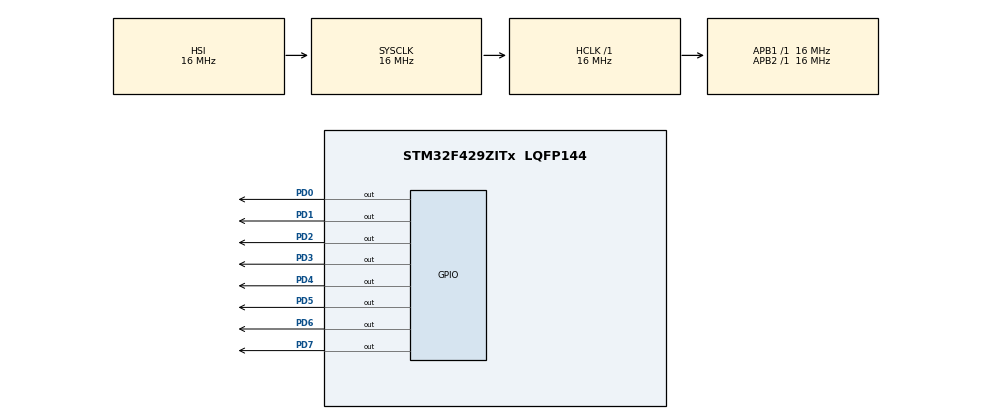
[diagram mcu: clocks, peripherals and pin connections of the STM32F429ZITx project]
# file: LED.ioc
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Mcu.Family=STM32F4
Mcu.Name=STM32F429ZITx
Mcu.Package=LQFP144
NVIC.PriorityGroup=NVIC_PRIORITYGROUP_4
PD0.PinState=GPIO_PIN_RESET
PD0.Signal=GPIO_Output
PD1.Signal=GPIO_Output
PD2.Signal=GPIO_Output
PD3.Signal=GPIO_Output
PD4.Signal=GPIO_Output
PD5.Signal=GPIO_Output
PD6.Signal=GPIO_Output
PD7.Signal=GPIO_Output
ProjectManager.HeapSize=0x200
ProjectManager.StackSize=0x400
ProjectManager.TargetToolchain=STM32CubeIDE
RCC.AHBFreq_Value=16000000
RCC.APB1Freq_Value=16000000
RCC.APB2Freq_Value=16000000
RCC.CortexFreq_Value=16000000
RCC.HSE_VALUE=25000000
RCC.HSI_VALUE=16000000
RCC.LSE_VALUE=32768
RCC.SYSCLKFreq_VALUE=16000000
RCC.VCOOutputFreq_Value=192000000
board=custom

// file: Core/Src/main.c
/* USER CODE BEGIN Header */
/**
  ******************************************************************************
  * @file           : main.c
  * @brief          : Main program body
  ******************************************************************************
  * @attention
  *
  * Copyright (c) 2022 STMicroelectronics.
  * All rights reserved.
  *
  * This software is licensed under terms that can be found in the LICENSE file
  * in the root directory of this software component.
  * If no LICENSE file comes with this software, it is provided AS-IS.
  *
  ******************************************************************************
  */
/* USER CODE END Header */
#include "main.h"

void SystemClock_Config(void);
static void MX_GPIO_Init(void);

int main(void)
{

  /* MCU Configuration--------------------------------------------------------*/

  /* Reset of all peripherals, Initializes the Flash interface and the Systick. */
  HAL_Init();

  /* Configure the system clock */
  SystemClock_Config();

  /* Initialize all configured peripherals */
  MX_GPIO_Init();

  /* Infinite loop */
  /* USER CODE BEGIN WHILE */
  while (1)
  {

//	  GPIOD->ODR = 0xFF;
//	  HAL_Delay(1000);
//	  GPIOD->ODR = 0x00;
//	  HAL_Delay(1000);
	  GPIOD->ODR = 0x01;
	  HAL_Delay(500);
	  GPIOD->ODR = 0x02;
 	  HAL_Delay(500);
 	  GPIOD->ODR = 0x04;
	  HAL_Delay(500);
	  GPIOD->ODR = 0x08;
	  HAL_Delay(500);
	  GPIOD->ODR = 0x10;
	  HAL_Delay(500);
	  GPIOD->ODR = 0x20;
	  HAL_Delay(500);
	  GPIOD->ODR = 0x40;
	  HAL_Delay(500);
	  GPIOD->ODR = 0x80;
	  HAL_Delay(500);

    /* USER CODE END WHILE */

  }
}

void SystemClock_Config(void)
{
  RCC_OscInitTypeDef RCC_OscInitStruct = {0};
  RCC_ClkInitTypeDef RCC_ClkInitStruct = {0};

  /** Configure the main internal regulator output voltage
  */
  __HAL_RCC_PWR_CLK_ENABLE();
  __HAL_PWR_VOLTAGESCALING_CONFIG(PWR_REGULATOR_VOLTAGE_SCALE3);

  /** Initializes the RCC Oscillators according to the specified parameters
  * in the RCC_OscInitTypeDef structure.
  */
  RCC_OscInitStruct.OscillatorType = RCC_OSCILLATORTYPE_HSI;
  RCC_OscInitStruct.HSIState = RCC_HSI_ON;
  RCC_OscInitStruct.HSICalibrationValue = RCC_HSICALIBRATION_DEFAULT;
  RCC_OscInitStruct.PLL.PLLState = RCC_PLL_NONE;
  if (HAL_RCC_OscConfig(&RCC_OscInitStruct) != HAL_OK)
  {
    Error_Handler();
  }

  /** Initializes the CPU, AHB and APB buses clocks
  */
  RCC_ClkInitStruct.ClockType = RCC_CLOCKTYPE_HCLK|RCC_CLOCKTYPE_SYSCLK
                              |RCC_CLOCKTYPE_PCLK1|RCC_CLOCKTYPE_PCLK2;
  RCC_ClkInitStruct.SYSCLKSource = RCC_SYSCLKSOURCE_HSI;
  RCC_ClkInitStruct.AHBCLKDivider = RCC_SYSCLK_DIV1;
  RCC_ClkInitStruct.APB1CLKDivider = RCC_HCLK_DIV1;
  RCC_ClkInitStruct.APB2CLKDivider = RCC_HCLK_DIV1;

  if (HAL_RCC_ClockConfig(&RCC_ClkInitStruct, FLASH_LATENCY_0) != HAL_OK)
  {
    Error_Handler();
  }
}

static void MX_GPIO_Init(void)
{
  GPIO_InitTypeDef GPIO_InitStruct = {0};

  /* GPIO Ports Clock Enable */
  __HAL_RCC_GPIOD_CLK_ENABLE();

  /*Configure GPIO pin Output Level */
  HAL_GPIO_WritePin(GPIOD, GPIO_PIN_0|GPIO_PIN_1|GPIO_PIN_2|GPIO_PIN_3
                          |GPIO_PIN_4|GPIO_PIN_5|GPIO_PIN_6|GPIO_PIN_7, GPIO_PIN_RESET);

  /*Configure GPIO pins : PD0 PD1 PD2 PD3
                           PD4 PD5 PD6 PD7 */
  GPIO_InitStruct.Pin = GPIO_PIN_0|GPIO_PIN_1|GPIO_PIN_2|GPIO_PIN_3
                          |GPIO_PIN_4|GPIO_PIN_5|GPIO_PIN_6|GPIO_PIN_7;
  GPIO_InitStruct.Mode = GPIO_MODE_OUTPUT_PP;
  GPIO_InitStruct.Pull = GPIO_NOPULL;
  GPIO_InitStruct.Speed = GPIO_SPEED_FREQ_LOW;
  HAL_GPIO_Init(GPIOD, &GPIO_InitStruct);

}

void Error_Handler(void)
{
  __disable_irq();
  while (1)
  {
  }
}
